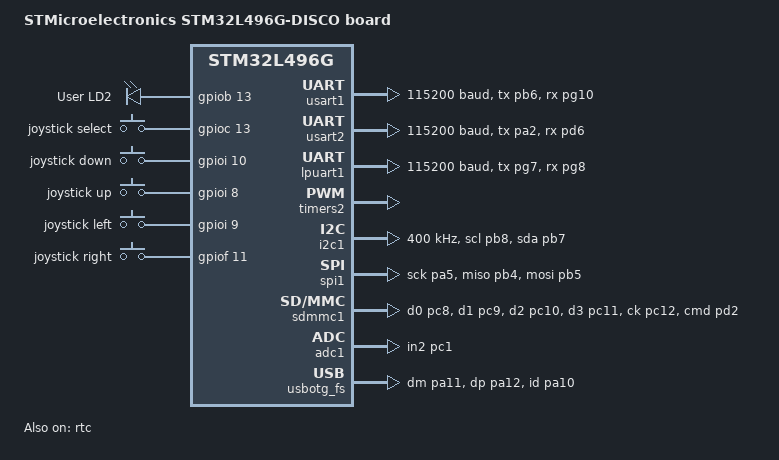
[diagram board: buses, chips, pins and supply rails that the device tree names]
/*
 * Copyright (c) 2017 Linaro Limited
 *
 * SPDX-License-Identifier: Apache-2.0
 */

/dts-v1/;
#include <st/l4/stm32l496Xg.dtsi>
#include <st/l4/stm32l496a(e-g)ix-pinctrl.dtsi>
#include "arduino_r3_connector.dtsi"

/ {
	model = "STMicroelectronics STM32L496G-DISCO board";
	compatible = "st,stm32l496g-disco";

	chosen {
		zephyr,console = &usart2;
		zephyr,shell-uart = &usart2;
		zephyr,sram = &sram0;
		zephyr,flash = &flash0;
	};

	leds {
		compatible = "gpio-leds";
		green_led_2: led_2 {
			gpios = <&gpiob 13 GPIO_ACTIVE_HIGH>;
			label = "User LD2";
		};
	};

	gpio_keys {
		compatible = "gpio-keys";
		joy_sel: joystick_select {
			label = "joystick select";
			gpios = <&gpioc 13 (GPIO_ACTIVE_HIGH | GPIO_PULL_DOWN)>;
		};
		joy_down: joystick_down {
			label = "joystick down";
			gpios = <&gpioi 10 (GPIO_ACTIVE_HIGH | GPIO_PULL_DOWN)>;
		};
		joy_up: joystick_up {
			label = "joystick up";
			gpios = <&gpioi 8 (GPIO_ACTIVE_HIGH | GPIO_PULL_DOWN)>;
		};
		joy_left: joystick_left {
			label = "joystick left";
			gpios = <&gpioi 9 (GPIO_ACTIVE_HIGH | GPIO_PULL_DOWN)>;
		};
		joy_right: joystick_right {
			label = "joystick right";
			gpios = <&gpiof 11 (GPIO_ACTIVE_HIGH | GPIO_PULL_DOWN)>;
		};
	};

	aliases {
		led0 = &green_led_2;
		sw0 = &joy_sel;
		sw1 = &joy_down;
		sw2 = &joy_right;
		sw3 = &joy_up;
		sw4 = &joy_left;
	};

};

&clk_lsi {
	status = "okay";
};

&clk_hsi48 {
	status = "okay";
};

&clk_hsi {
	status = "okay";
};

&pll {
	div-m = <1>;
	mul-n = <20>;
	div-p = <7>;
	div-q = <2>;
	div-r = <4>;
	clocks = <&clk_hsi>;
	status = "okay";
};

&rcc {
	clocks = <&pll>;
	clock-frequency = <DT_FREQ_M(80)>;
	ahb-prescaler = <1>;
	apb1-prescaler = <1>;
	apb2-prescaler = <1>;
};

&usart1 {
	pinctrl-0 = <&usart1_tx_pb6 &usart1_rx_pg10>;
	pinctrl-names = "default";
	current-speed = <115200>;
	status = "okay";
};

&usart2 {
	pinctrl-0 = <&usart2_tx_pa2 &usart2_rx_pd6>;
	pinctrl-names = "default";
	current-speed = <115200>;
	status = "okay";
};

&lpuart1 {
	pinctrl-0 = <&lpuart1_tx_pg7 &lpuart1_rx_pg8>;
	pinctrl-names = "default";
	current-speed = <115200>;
	status = "okay";
};

&timers2 {
	status = "okay";

	pwm2: pwm {
		status = "okay";
		pinctrl-0 = <&tim2_ch1_pa0>;
		pinctrl-names = "default";
	};
};

&i2c1 {
	pinctrl-0 = <&i2c1_scl_pb8 &i2c1_sda_pb7>;
	pinctrl-names = "default";
	status = "okay";
	clock-frequency = <I2C_BITRATE_FAST>;
};

&spi1 {
	pinctrl-0 = <&spi1_sck_pa5 &spi1_miso_pb4 &spi1_mosi_pb5>;
	pinctrl-names = "default";
	cs-gpios = <&gpioa 15 (GPIO_ACTIVE_LOW | GPIO_PULL_UP)>;
	status = "okay";
};

&rtc {
	clocks = <&rcc STM32_CLOCK_BUS_APB1 0x10000000>,
		 <&rcc STM32_SRC_LSI RTC_SEL(2)>;
	status = "okay";
};

&sdmmc1 {
	pinctrl-0 = <&sdmmc1_d0_pc8 &sdmmc1_d1_pc9
		     &sdmmc1_d2_pc10 &sdmmc1_d3_pc11
		     &sdmmc1_ck_pc12 &sdmmc1_cmd_pd2>;
	pinctrl-names = "default";
	status = "okay";
};

&adc1 {
	pinctrl-0 = < &adc1_in2_pc1>;
	pinctrl-names = "default";
	status = "okay";
};

zephyr_udc0: &usbotg_fs {
	pinctrl-0 = <&usb_otg_fs_dm_pa11 &usb_otg_fs_dp_pa12
		     &usb_otg_fs_id_pa10>;
	pinctrl-names = "default";
	status = "okay";
};
